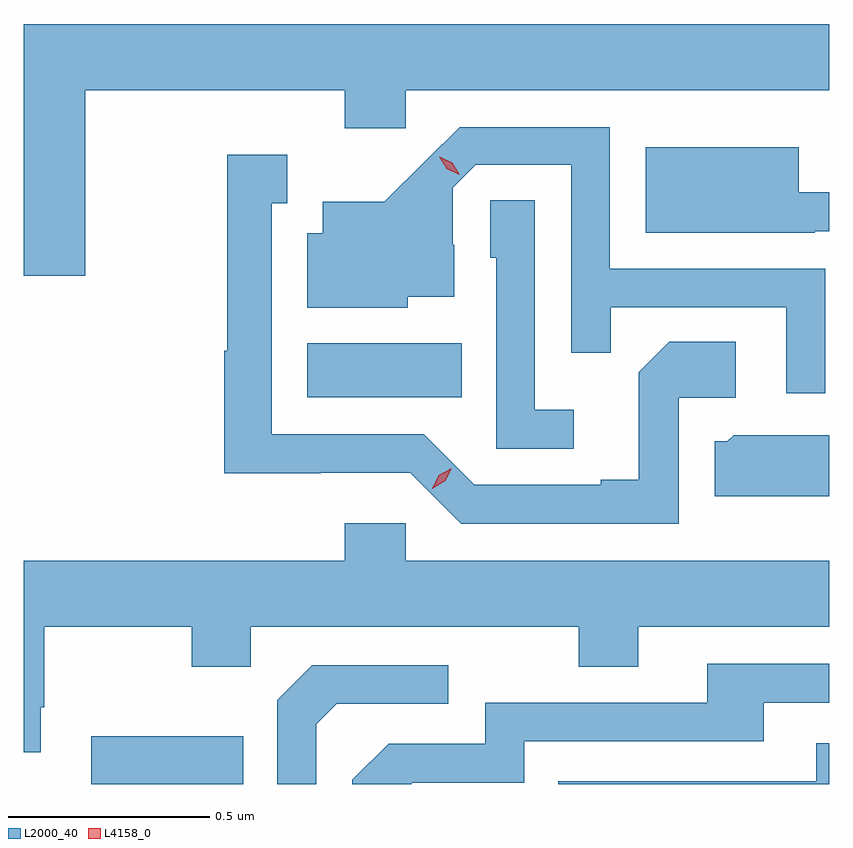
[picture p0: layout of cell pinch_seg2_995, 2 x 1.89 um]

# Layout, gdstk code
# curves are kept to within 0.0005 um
import gdstk
lib = gdstk.Library(unit=1e-6, precision=1e-09)
def R(c, l, rs):  # rectangles x0, y0, x1, y1
    for r in rs: c.add(gdstk.rectangle(r[:2], r[2:], *l))
def P(c, l, *ps):  # polygons
    for p in ps: c.add(gdstk.Polygon(p, *l))
L2000_40 = (2000, 40)
L4158_0 = (4158, 0)

pinch_seg2_995 = lib.new_cell('pinch_seg2_995')
R(pinch_seg2_995, L2000_40, [(329.088,629.93,329.465,630.049), (329.624,630.89,330.008,631.024)])
P(pinch_seg2_995, L2000_40, [(328.92,631.191),(329.073,631.191),(329.073,631.652),(329.717,631.652),(329.717,631.557),(329.868,631.557),(329.868,631.652),(330.92,631.652),(330.92,631.816),(328.92,631.816)],
  [(330.909,631.209),(330.375,631.209),(330.375,631.56),(330.002,631.56),(329.815,631.375),(329.663,631.375),(329.663,631.297),(329.624,631.297),(329.624,631.112),(329.874,631.112),(329.874,631.139),(329.989,631.139),(329.989,631.268),(329.985,631.268),(329.985,631.41),(330.042,631.467),(330.279,631.467),(330.279,631),(330.377,631),(330.377,631.113),(330.813,631.113),(330.813,630.9),(330.909,630.9)],
  [(330.884,631.302),(330.92,631.302),(330.92,631.399),(330.844,631.399),(330.844,631.51),(330.464,631.51),(330.464,631.298),(330.884,631.298)],
  [(330.546,630.888),(330.688,630.888),(330.688,631.028),(330.523,631.028),(330.447,630.952),(330.447,630.685),(330.353,630.685),(330.353,630.672),(330.039,630.672),(329.913,630.798),(329.536,630.798),(329.536,631.371),(329.575,631.371),(329.575,631.492),(329.425,631.492),(329.425,631.005),(329.418,631.005),(329.418,630.701),(329.658,630.701),(329.658,630.702),(329.88,630.702),(330.006,630.576),(330.546,630.576)],
  [(330.286,630.859),(330.189,630.859),(330.189,631.379),(330.078,631.379),(330.078,631.236),(330.093,631.236),(330.093,630.762),(330.286,630.762)],
  [(330.92,630.795),(330.816,630.795),(330.816,630.796),(330.682,630.796),(330.666,630.78),(330.635,630.78),(330.635,630.644),(330.92,630.644)],
  [(328.963,630.121),(328.971,630.121),(328.971,630.32),(329.338,630.32),(329.338,630.221),(329.484,630.221),(329.484,630.32),(330.298,630.32),(330.298,630.221),(330.445,630.221),(330.445,630.32),(330.92,630.32),(330.92,630.484),(329.868,630.484),(329.868,630.577),(329.717,630.577),(329.717,630.484),(328.92,630.484),(328.92,630.009),(328.963,630.009)],
  [(329.885,629.933),(330.162,629.933),(330.162,630.036),(330.757,630.036),(330.757,630.132),(330.92,630.132),(330.92,630.228),(330.617,630.228),(330.617,630.132),(330.066,630.132),(330.066,630.03),(329.826,630.03),(329.736,629.94),(329.736,629.93),(329.882,629.93)],
  [(329.646,630.078),(329.697,630.129),(329.974,630.129),(329.974,630.225),(329.637,630.225),(329.55,630.138),(329.55,629.93),(329.646,629.93)],
  [(330.92,630.031),(330.887,630.031),(330.887,629.937),(330.247,629.937),(330.247,629.93),(330.92,629.93)])
P(pinch_seg2_995, L4158_0, [(330.001,631.442),(329.97,631.457),(329.952,631.487),(329.952,631.487),(329.953,631.487),(329.984,631.472),(330.001,631.443),(330.001,631.442)],
  [(329.934,630.663),(329.934,630.663),(329.951,630.696),(329.983,630.714),(329.983,630.714),(329.983,630.714),(329.966,630.682),(329.934,630.663)])

lib.write_gds('pinch_seg2_995.gds')
